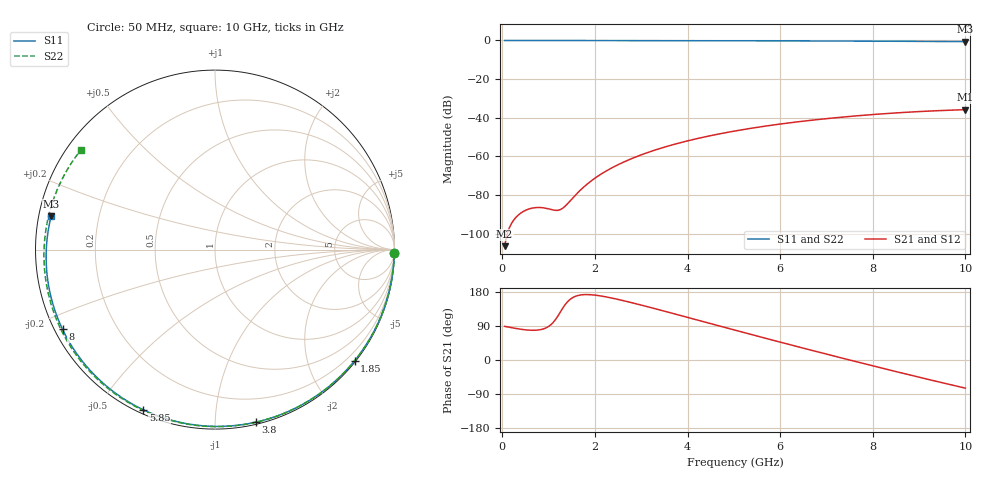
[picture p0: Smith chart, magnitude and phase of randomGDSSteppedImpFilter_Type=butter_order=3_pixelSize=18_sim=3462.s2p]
! freq	dB(S11)	phase(S11)	dB(S12)	phase(S12)
!  dB(S21)	phase(S21)	dB(S22)	phase(S22)
!S-par simulation data
#  GHz  S  DB  R 50
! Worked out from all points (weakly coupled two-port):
!   200 points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, 50 MHz to 10 GHz, reference 50 ohm
!   highest |S21| = -35.86 dB at 10 GHz (marker M1); lowest = -106.5 dB at 50 MHz (marker M2)
!   lowest |S11| = -0.6 dB at 10 GHz (marker M3), VSWR 28.28, Z = 1.79 + j5.09 ohm
!   |S11| at or under -10 dB: nowhere
!   |S22| runs from -0.6 to 0.0 dB; largest |S21 - S12| = 0
!   S11 on the Smith chart (normalised r, x): 50 MHz: open; 1.85 GHz: 0.03, -2.86; 3.8 GHz: 0.02, -1.26; 5.85 GHz: 0.02, -0.65; 8 GHz: 0.02, -0.25; 10 GHz: 0.04, +0.10
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0.05  -0.01 -1.0  -106.54 88.8  -106.54 88.8  -0.00 -1.2
0.4  -0.01 -8.4  -89.39 81.2  -89.39 81.2  -0.02 -10.2
0.75  -0.02 -15.8  -86.52 78.8  -86.52 78.8  -0.02 -19.0
1.15  -0.03 -24.1  -87.99 106.9  -87.99 106.9  -0.04 -29.0
1.55  -0.04 -32.4  -80.84 166.5  -80.84 166.5  -0.05 -38.9
1.6  -0.04 -33.4  -79.57 169.0  -79.57 169.0  -0.05 -40.1
1.75  -0.05 -36.5  -76.09 172.4  -76.09 172.4  -0.06 -43.7
1.85  -0.05 -38.5  -74.05 172.6  -74.05 172.6  -0.06 -46.1
2.15  -0.06 -44.6  -68.96 168.6  -68.96 168.6  -0.07 -53.3
2.5  -0.07 -51.6  -64.34 159.9  -64.34 159.9  -0.08 -61.5
2.9  -0.08 -59.5  -60.16 148.0  -60.16 148.0  -0.09 -70.7
3.4  -0.09 -69.1  -55.99 132.1  -55.99 132.1  -0.11 -81.8
3.8  -0.10 -76.7  -53.24 119.1  -53.24 119.1  -0.12 -90.5
4.4  -0.13 -87.9  -49.80 99.3  -49.80 99.3  -0.14 -103.2
5.05  -0.15 -99.8  -46.78 78.0  -46.78 78.0  -0.18 -116.4
5.85  -0.20 -114.1  -43.78 52.0  -43.78 52.0  -0.22 -132.3
6.7  -0.25 -129.1  -41.26 24.9  -41.26 24.9  -0.28 -148.9
7.35  -0.31 -140.7  -39.68 4.6  -39.68 4.6  -0.33 -161.5
8  -0.37 -152.4  -38.37 -15.4  -38.37 -15.4  -0.39 -174.3
8.35  -0.40 -158.9  -37.77 -26.0  -37.77 -26.0  -0.43 178.7
9.2  -0.51 -175.2  -36.59 -51.3  -36.59 -51.3  -0.52 161.1
10  -0.61 168.4  -35.86 -74.3  -35.86 -74.3  -0.62 143.5
